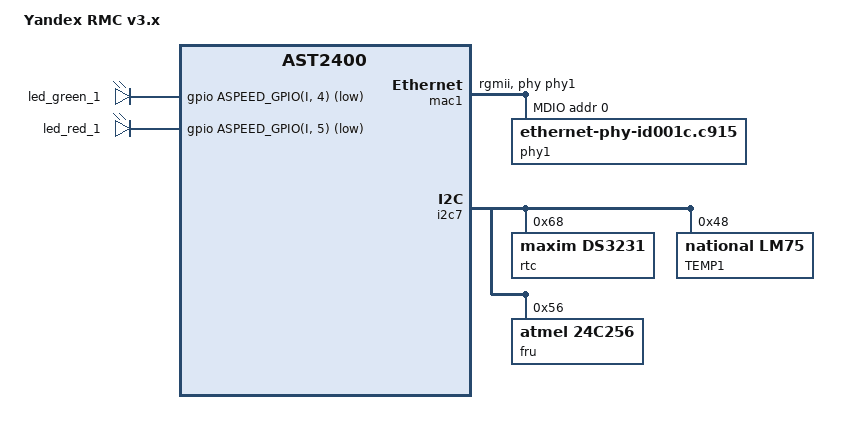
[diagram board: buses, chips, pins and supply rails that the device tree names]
/dts-v1/;
/plugin/;

#include <dt-bindings/gpio/gpio.h>
#include <dt-bindings/gpio/aspeed-gpio.h>

/ {
	compatible = "aspeed,ast2400";

	fragment@0 {
		target-path = "/";
		__overlay__ {
			model = "Yandex RMC v3.x";
		};
	};

	fragment@1 {
		target = <&mac1>;
		__overlay__ {
			status = "okay";
			compatible = "faraday,ftgmac100", "aspeed,ast2400-mac";

			no-hw-checksum;
			phy-handle = <&phy1>;
			phy-mode = "rgmii";
			pinctrl-names = "default";
			pinctrl-0 = <&pinctrl_rgmii2_default &pinctrl_mdio2_default>;

			mdio {
				phy1: phy@0 {
					compatible = "ethernet-phy-id001c.c915";
					reg = <0>;
				};
			};
		};
	};

	fragment@2 {
		target = <&i2c7>;
		__overlay__ {
			status = "okay";
			bus-frequency = <100000>;
			rtc@68 {
				compatible = "maxim,ds3231";
				reg = <0x68>;
				// interrupts = <GPIOF0>
			};

			tmp {
				label = "TEMP1";
				compatible = "national,lm75";
				reg = <0x48>;
			};
			fru {
				compatible = "atmel,24c256";
				reg = <0x56>;
				// pagesize = <32>;
			};
		};
	};

	fragment@3 {
		target-path = "/";
		__overlay__ {
			ledsRMC {
				compatible = "gpio-leds";
				led_green_1 { label = "led_green_1"; gpios = <&gpio ASPEED_GPIO(I, 4) GPIO_ACTIVE_LOW>; };
				led_red_1 { label = "led_red_1"; gpios = <&gpio ASPEED_GPIO(I, 5) GPIO_ACTIVE_LOW>; };
			};
		};
	};
};
